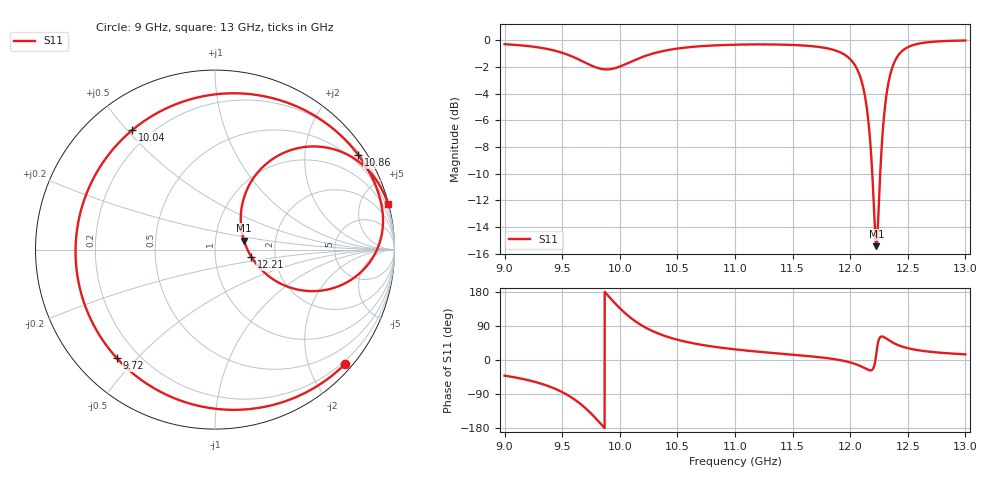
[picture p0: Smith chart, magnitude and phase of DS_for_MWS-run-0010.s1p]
! TOUCHSTONE file generated by CST DESIGN STUDIO
! Date and time: Tue Feb  4 17:35:18 2025
! Project name: C:\Work\MatlabApps\UnitCellOptimizationMatlab\CST\unitcell.cst
! Tree item: Tasks\Sweep1\SPara1\S-Parameters
! Header version: 2024
! Port assignment regex: !\s*Touchstone port\s*([0-9]+)\s*=\s*(CST MWS port|CST DES external port|CST DES block port)\s*(.+)\s* \(\"(.*)\"\)(\s*mode\s*([0-9]+))?.*
! Touchstone port assignment:
! Touchstone port 1 = CST DES external port 1 ("")
# GHz S MA R 50
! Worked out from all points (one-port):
!   4001 points, 9 GHz to 13 GHz, reference 50 ohm
!   lowest |S11| = -15.4 dB at 12.23 GHz (marker M1), VSWR 1.41, Z = 68.8 + j7.16 ohm
!   |S11| at or under -10 dB: 12.19 GHz to 12.26 GHz (68.73 MHz wide, 0.562 % of centre)
!   S11 on the Smith chart (normalised r, x): 9 GHz: 0.14, -2.64; 9.72 GHz: 0.12, -0.44; 10.04 GHz: 0.13, +0.52; 10.86 GHz: 0.27, +3.31; 12.21 GHz: 1.50, -0.13; 13 GHz: 0.09, +7.65
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9  0.9653 -41.3
9.28  0.9409 -59.2
9.5  0.8963 -84.7
9.619  0.8559 -106.8
9.72  0.8154 -132.2
9.862  0.7774 -177.8
9.927  0.7794 160.0
10  0.796 136.7
10.042  0.8099 124.7
10.122  0.839 104.9
10.214  0.8701 87.1
10.349  0.9047 68.1
10.5  0.9297 53.5
10.855  0.9567 33.4
11  0.9612 28.1
11.5  0.9591 14.1
11.826  0.9264 3.9
12  0.8483 -6.4
12.075  0.7524 -14.3
12.136  0.5887 -23.2
12.174  0.416 -27.4
12.212  0.2067 -11.3
12.227  0.1691 17.4
12.268  0.3647 61.7
12.33  0.685 53.4
12.407  0.8639 40.4
12.5  0.9406 31.2
13  0.997 14.9
